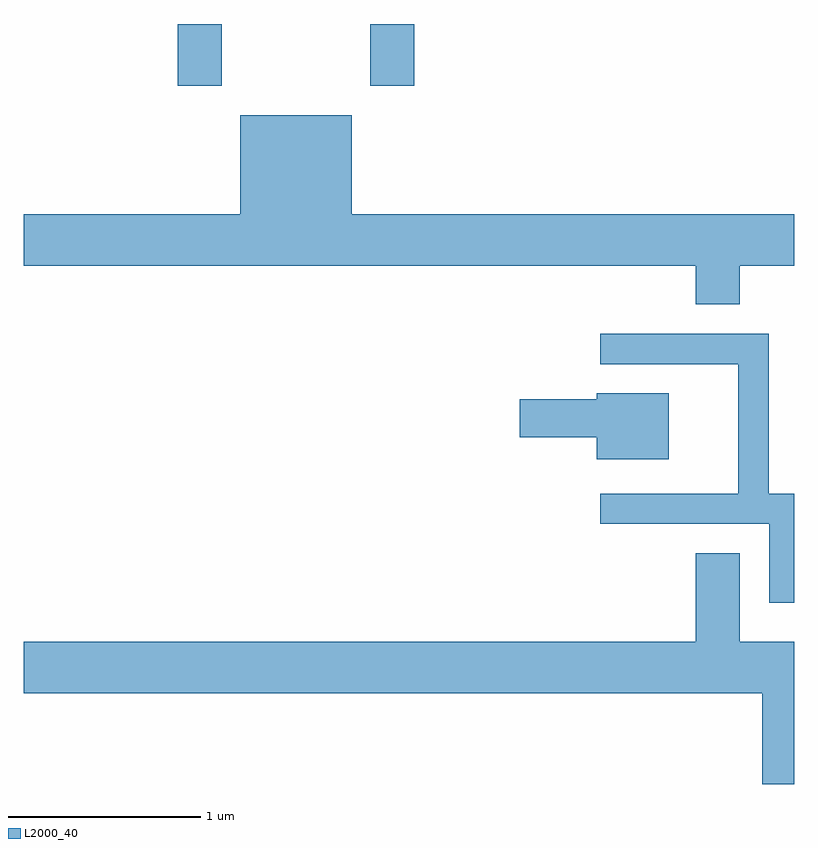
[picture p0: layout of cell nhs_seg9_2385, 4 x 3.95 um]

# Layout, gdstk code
import gdstk
lib = gdstk.Library(unit=1e-6, precision=1e-09)
def R(c, l, rs):  # rectangles x0, y0, x1, y1
    for r in rs: c.add(gdstk.rectangle(r[:2], r[2:], *l))
def P(c, l, *ps):  # polygons
    for p in ps: c.add(gdstk.Polygon(p, *l))
L2000_40 = (2000, 40)

nhs_seg9_2385 = lib.new_cell('nhs_seg9_2385')
R(nhs_seg9_2385, L2000_40, [(256.411,1966.111,256.639,1966.432), (257.411,1966.111,257.639,1966.432)])
P(nhs_seg9_2385, L2000_40, [(259.329,1965.176),(259.611,1965.176),(259.611,1965.444),(257.314,1965.444),(257.314,1965.959),(256.736,1965.959),(256.736,1965.444),(255.611,1965.444),(255.611,1965.176),(259.101,1965.176),(259.101,1964.976),(259.329,1964.976)],
  [(259.611,1963.994),(259.479,1963.994),(259.479,1964.824),(258.603,1964.824),(258.603,1964.666),(259.321,1964.666),(259.321,1963.994),(258.603,1963.994),(258.603,1963.836),(259.481,1963.836),(259.481,1963.426),(259.611,1963.426)],
  [(258.959,1964.514),(258.586,1964.514),(258.586,1964.484),(258.186,1964.484),(258.186,1964.286),(258.586,1964.286),(258.586,1964.171),(258.959,1964.171)],
  [(259.611,1963.224),(259.329,1963.224),(259.329,1963.684),(259.101,1963.684),(259.101,1963.224),(255.611,1963.224),(255.611,1962.956),(259.446,1962.956),(259.446,1962.486),(259.611,1962.486)])

lib.write_gds('nhs_seg9_2385.gds')
